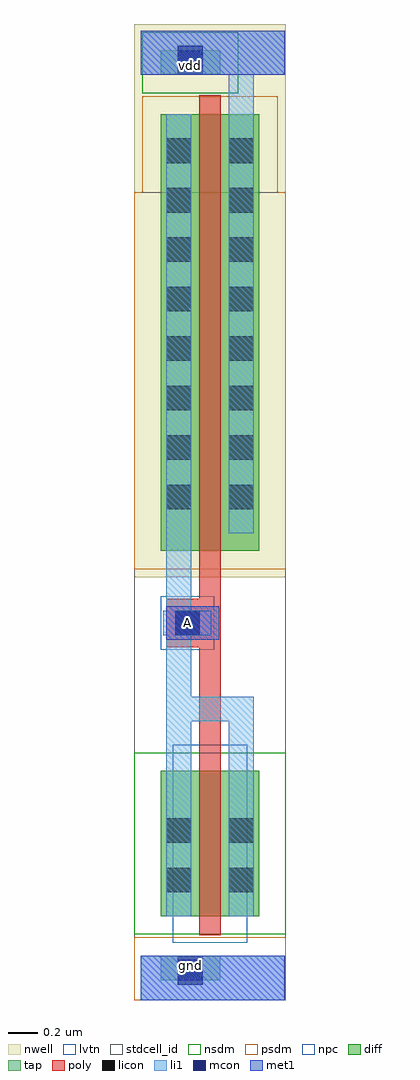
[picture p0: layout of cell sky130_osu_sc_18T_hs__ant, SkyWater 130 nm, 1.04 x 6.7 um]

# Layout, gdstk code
import gdstk
lib = gdstk.Library(unit=1e-6, precision=1e-09)
def R(c, l, rs):  # rectangles x0, y0, x1, y1
    for r in rs: c.add(gdstk.rectangle(r[:2], r[2:], *l))
def A(c, l, x, y, w, h, nx, ny, dx, dy):  # array of equal rectangles
    R(c, l, [(x+i*dx, y+j*dy, x+i*dx+w, y+j*dy+h) for i in range(nx) for j in range(ny)])
nwell = (64, 20)
diff = (65, 20)
tap = (65, 44)
poly = (66, 20)
licon = (66, 44)
li1 = (67, 20)
mcon = (67, 44)
met1 = (68, 20)
stdcell_id = (81, 4)
nsdm = (93, 44)
psdm = (94, 20)
npc = (95, 20)
lvtn = (125, 44)

sky130_osu_sc_18t_hs__an = lib.new_cell('sky130_osu_sc_18T_hs__ant')
R(sky130_osu_sc_18t_hs__an, nwell, [(-0.045,2.905,0.995,6.705)])
R(sky130_osu_sc_18t_hs__an, diff, [(0.135,0.575,0.815,1.575), (0.135,3.085,0.815,6.085)])
R(sky130_osu_sc_18t_hs__an, tap, [(0.135,0.135,0.545,0.305), (0.135,6.355,0.545,6.525)])
R(sky130_osu_sc_18t_hs__an, poly, [(0.4,0.445,0.55,2.425), (0.175,2.425,0.55,2.755), (0.4,2.755,0.55,6.215)])
A(sky130_osu_sc_18t_hs__an, licon, 0.175, 3.37, 0.17, 0.17, 1, 8, 0, 0.34)
A(sky130_osu_sc_18t_hs__an, licon, 0.605, 3.37, 0.17, 0.17, 1, 8, 0, 0.34)
R(sky130_osu_sc_18t_hs__an, licon, [(0.255,0.135,0.425,0.305), (0.175,0.74,0.345,0.91), (0.605,0.74,0.775,0.91), (0.175,1.08,0.345,1.25), (0.605,1.08,0.775,1.25), (0.235,2.505,0.405,2.675), (0.255,6.355,0.425,6.525)])
R(sky130_osu_sc_18t_hs__an, li1, [(0,0,0.99,0.305), (0.175,0.575,0.345,1.915), (0.605,0.575,0.775,1.915), (0.175,1.915,0.775,2.085), (0.175,2.085,0.345,2.505), (0.155,2.505,0.485,2.675), (0.175,2.675,0.345,6.085), (0.605,3.205,0.775,6.355), (0,6.355,0.99,6.66)])
R(sky130_osu_sc_18t_hs__an, mcon, [(0.255,0.105,0.425,0.275), (0.235,2.505,0.405,2.675), (0.255,6.385,0.425,6.555)])
R(sky130_osu_sc_18t_hs__an, met1, [(0,0,0.99,0.305), (0.175,2.475,0.54,2.705), (0,6.355,0.99,6.66)])
R(sky130_osu_sc_18t_hs__an, stdcell_id, [(-0.045,0,0.995,5.55)])
R(sky130_osu_sc_18t_hs__an, nsdm, [(-0.045,0.45,0.995,1.7), (0.01,6.23,0.67,6.65)])
R(sky130_osu_sc_18t_hs__an, psdm, [(-0.045,0,0.995,0.43), (-0.045,2.96,0.995,5.55), (0.01,5.55,0.94,6.21)])
R(sky130_osu_sc_18t_hs__an, npc, [(0.135,2.405,0.505,2.775)])
R(sky130_osu_sc_18t_hs__an, lvtn, [(0.22,0.395,0.73,1.755)])
sky130_osu_sc_18t_hs__an.add(gdstk.Label('gnd', (0.34,0.24), layer=68, texttype=16))
sky130_osu_sc_18t_hs__an.add(gdstk.Label('vdd', (0.34,6.42), layer=68, texttype=16))
sky130_osu_sc_18t_hs__an.add(gdstk.Label('A', (0.32,2.59), layer=68, texttype=5))

lib.write_gds('sky130_osu_sc_18T_hs__ant.gds')
